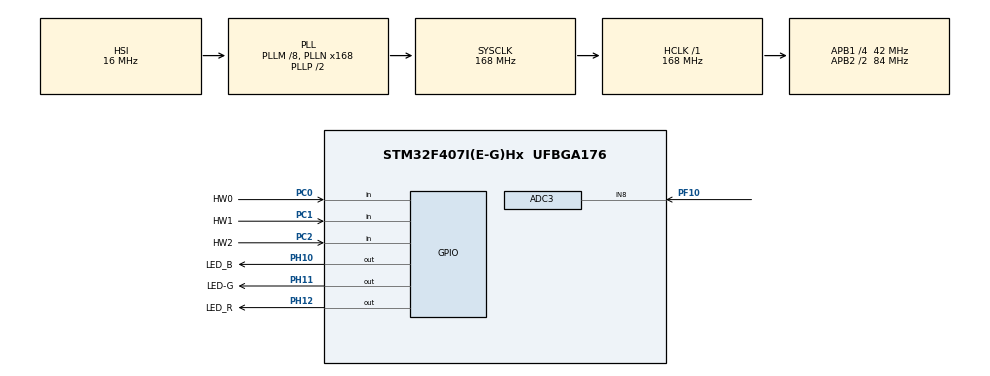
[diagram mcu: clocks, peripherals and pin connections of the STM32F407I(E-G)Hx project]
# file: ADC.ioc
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ADC1.Channel-0\#ChannelRegularConversion=ADC_CHANNEL_VREFINT
ADC1.NbrOfConversionFlag=1
ADC1.Rank-0\#ChannelRegularConversion=1
ADC1.SamplingTime-0\#ChannelRegularConversion=ADC_SAMPLETIME_3CYCLES
ADC1.master=1
ADC3.Channel-0\#ChannelRegularConversion=ADC_CHANNEL_8
ADC3.NbrOfConversionFlag=1
ADC3.Rank-0\#ChannelRegularConversion=1
ADC3.SamplingTime-0\#ChannelRegularConversion=ADC_SAMPLETIME_3CYCLES
Mcu.Family=STM32F4
Mcu.Name=STM32F407I(E-G)Hx
Mcu.Package=UFBGA176
NVIC.PriorityGroup=NVIC_PRIORITYGROUP_4
PA13.Mode=Serial_Wire
PA13.Signal=SYS_JTMS-SWDIO
PA14.Mode=Serial_Wire
PA14.Signal=SYS_JTCK-SWCLK
PC0.GPIO_Label=HW0
PC0.GPIO_PuPd=GPIO_PULLUP
PC0.Signal=GPIO_Input
PC1.GPIO_Label=HW1
PC1.GPIO_PuPd=GPIO_PULLUP
PC1.Signal=GPIO_Input
PC2.GPIO_Label=HW2
PC2.GPIO_PuPd=GPIO_PULLUP
PC2.Signal=GPIO_Input
PF10.Mode=IN8
PF10.Signal=ADC3_IN8
PH0-OSC_IN.Mode=HSE-External-Oscillator
PH0-OSC_IN.Signal=RCC_OSC_IN
PH1-OSC_OUT.Mode=HSE-External-Oscillator
PH1-OSC_OUT.Signal=RCC_OSC_OUT
PH10.GPIO_Label=LED_B
PH10.Signal=GPIO_Output
PH11.GPIO_Label=LED-G
PH11.Signal=GPIO_Output
PH12.GPIO_Label=LED_R
PH12.Signal=GPIO_Output
ProjectManager.HeapSize=0x200
ProjectManager.StackSize=0x400
ProjectManager.TargetToolchain=Makefile
RCC.48MHZClocksFreq_Value=84000000
RCC.AHBFreq_Value=168000000
RCC.APB1CLKDivider=RCC_HCLK_DIV4
RCC.APB1Freq_Value=42000000
RCC.APB1TimFreq_Value=84000000
RCC.APB2CLKDivider=RCC_HCLK_DIV2
RCC.APB2Freq_Value=84000000
RCC.APB2TimFreq_Value=168000000
RCC.CortexFreq_Value=168000000
RCC.HCLKFreq_Value=168000000
RCC.HSE_VALUE=12000000
RCC.HSI_VALUE=16000000
RCC.LSE_VALUE=32768
RCC.PLLM=8
RCC.PLLN=168
RCC.SYSCLKFreq_VALUE=168000000
RCC.SYSCLKSource=RCC_SYSCLKSOURCE_PLLCLK
RCC.VCOOutputFreq_Value=336000000
VP_ADC1_Vref_Input.Mode=IN-Vrefint
board=custom

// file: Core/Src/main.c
/* USER CODE BEGIN Header */
/**
  ******************************************************************************
  * @file           : main.c
  * @brief          : Main program body
  ******************************************************************************
  * @attention
  *
  * Copyright (c) 2024 STMicroelectronics.
  * All rights reserved.
  *
  * This software is licensed under terms that can be found in the LICENSE file
  * in the root directory of this software component.
  * If no LICENSE file comes with this software, it is provided AS-IS.
  *
  ******************************************************************************
  */
/* USER CODE END Header */
#include "main.h"
#include "adc.h"
#include "gpio.h"

/* USER CODE BEGIN Includes */
#include "bsp_adc.h"
/* USER CODE END Includes */

/* USER CODE BEGIN PV */
fp32 voltage;
fp32 temperature;
uint8_t handware_version;
/* USER CODE END PV */

void SystemClock_Config(void);

int main(void)
{

  /* MCU Configuration--------------------------------------------------------*/

  /* Reset of all peripherals, Initializes the Flash interface and the Systick. */
  HAL_Init();

  /* Configure the system clock */
  SystemClock_Config();

  /* Initialize all configured peripherals */
  MX_GPIO_Init();
  MX_ADC1_Init();
  MX_ADC3_Init();
  /* USER CODE BEGIN 2 */
  init_vrefint_reciprocal();
  /* USER CODE END 2 */

  /* Infinite loop */
  /* USER CODE BEGIN WHILE */
  while (1)
  {
    HAL_GPIO_WritePin(LED_R_GPIO_Port, LED_R_Pin, GPIO_PIN_SET);
    HAL_GPIO_WritePin(LED_G_GPIO_Port, LED_G_Pin, GPIO_PIN_SET);
    HAL_GPIO_WritePin(LED_B_GPIO_Port, LED_B_Pin, GPIO_PIN_SET);
    HAL_Delay(500);
    HAL_GPIO_WritePin(LED_R_GPIO_Port, LED_R_Pin, GPIO_PIN_RESET);
    HAL_GPIO_WritePin(LED_G_GPIO_Port, LED_G_Pin, GPIO_PIN_RESET);
    HAL_GPIO_WritePin(LED_B_GPIO_Port, LED_B_Pin, GPIO_PIN_RESET);
    HAL_Delay(500);

    /* USER CODE END WHILE */

    /* USER CODE BEGIN 3 */
    //get battery voltage
    //获取电源电压
    voltage = get_battery_voltage();
    //get chip temperate
    //获取片内温度
    temperature = get_temprate();
    //get handware version
    //获取硬件版本
    handware_version = get_hardware_version();
  }
  /* USER CODE END 3 */
}

void SystemClock_Config(void)
{
  RCC_OscInitTypeDef RCC_OscInitStruct = {0};
  RCC_ClkInitTypeDef RCC_ClkInitStruct = {0};

  /** Configure the main internal regulator output voltage
  */
  __HAL_RCC_PWR_CLK_ENABLE();
  __HAL_PWR_VOLTAGESCALING_CONFIG(PWR_REGULATOR_VOLTAGE_SCALE1);

  /** Initializes the RCC Oscillators according to the specified parameters
  * in the RCC_OscInitTypeDef structure.
  */
  RCC_OscInitStruct.OscillatorType = RCC_OSCILLATORTYPE_HSI;
  RCC_OscInitStruct.HSIState = RCC_HSI_ON;
  RCC_OscInitStruct.HSICalibrationValue = RCC_HSICALIBRATION_DEFAULT;
  RCC_OscInitStruct.PLL.PLLState = RCC_PLL_ON;
  RCC_OscInitStruct.PLL.PLLSource = RCC_PLLSOURCE_HSI;
  RCC_OscInitStruct.PLL.PLLM = 8;
  RCC_OscInitStruct.PLL.PLLN = 168;
  RCC_OscInitStruct.PLL.PLLP = RCC_PLLP_DIV2;
  RCC_OscInitStruct.PLL.PLLQ = 4;
  if (HAL_RCC_OscConfig(&RCC_OscInitStruct) != HAL_OK)
  {
    Error_Handler();
  }

  /** Initializes the CPU, AHB and APB buses clocks
  */
  RCC_ClkInitStruct.ClockType = RCC_CLOCKTYPE_HCLK|RCC_CLOCKTYPE_SYSCLK
                              |RCC_CLOCKTYPE_PCLK1|RCC_CLOCKTYPE_PCLK2;
  RCC_ClkInitStruct.SYSCLKSource = RCC_SYSCLKSOURCE_PLLCLK;
  RCC_ClkInitStruct.AHBCLKDivider = RCC_SYSCLK_DIV1;
  RCC_ClkInitStruct.APB1CLKDivider = RCC_HCLK_DIV4;
  RCC_ClkInitStruct.APB2CLKDivider = RCC_HCLK_DIV2;

  if (HAL_RCC_ClockConfig(&RCC_ClkInitStruct, FLASH_LATENCY_5) != HAL_OK)
  {
    Error_Handler();
  }
}

void Error_Handler(void)
{
  __disable_irq();
  while (1)
  {
  }
}
